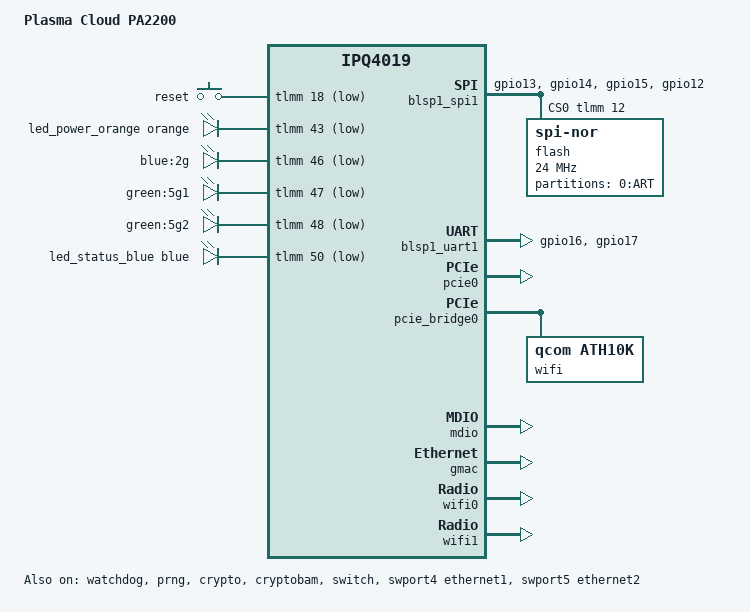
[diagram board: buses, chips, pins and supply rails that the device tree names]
// SPDX-License-Identifier: GPL-2.0-or-later OR MIT
/* Copyright (c) 2017-2020, Sven Eckelmann <sven@narfation.org>
 * Copyright (c) 2018, Marek Lindner <marek.lindner@kaiwoo.ai>
 */

#include "qcom-ipq4019.dtsi"
#include <dt-bindings/gpio/gpio.h>
#include <dt-bindings/input/input.h>
#include <dt-bindings/leds/common.h>
#include <dt-bindings/soc/qcom,tcsr.h>

/ {
	model = "Plasma Cloud PA2200";
	compatible = "plasmacloud,pa2200";

	soc {
		tcsr@1949000 {
			compatible = "qcom,tcsr";
			reg = <0x1949000 0x100>;
			qcom,wifi_glb_cfg = <TCSR_WIFI_GLB_CFG>;
		};

		ess_tcsr@1953000 {
			compatible = "qcom,tcsr";
			reg = <0x1953000 0x1000>;
			qcom,ess-interface-select = <TCSR_ESS_PSGMII>;
		};

		tcsr@1957000 {
			compatible = "qcom,tcsr";
			reg = <0x1957000 0x100>;
			qcom,wifi_noc_memtype_m0_m2 = <TCSR_WIFI_NOC_MEMTYPE_M0_M2>;
		};
	};

	keys {
		compatible = "gpio-keys";

		reset {
			label = "reset";
			gpios = <&tlmm 18 GPIO_ACTIVE_LOW>;
			linux,code = <KEY_RESTART >;
		};
	};

	aliases {
		// TODO: Verify if the ethernet0 alias is needed
		ethernet0 = &gmac;
		led-boot = &led_power_orange;
		led-failsafe = &led_status_blue;
		led-running = &led_power_orange;
		led-upgrade = &led_status_blue;
		label-mac-device = &swport4;
	};

	leds {
		compatible = "gpio-leds";

		led_power_orange: power_orange {
			function = LED_FUNCTION_POWER;
			color = <LED_COLOR_ID_ORANGE>;
			gpios = <&tlmm 43 GPIO_ACTIVE_LOW>;
		};

		2g_blue {
			label = "blue:2g";
			gpios = <&tlmm 46 GPIO_ACTIVE_LOW>;
			linux,default-trigger = "phy1tpt";
		};

		2g_green {
			label = "green:5g1";
			gpios = <&tlmm 47 GPIO_ACTIVE_LOW>;
			linux,default-trigger = "phy0tpt";
		};

		5g2_green {
			label = "green:5g2";
			gpios = <&tlmm 48 GPIO_ACTIVE_LOW>;
			linux,default-trigger = "phy2tpt";
		};

		led_status_blue: status_blue {
			function = LED_FUNCTION_STATUS;
			color = <LED_COLOR_ID_BLUE>;
			gpios = <&tlmm 50 GPIO_ACTIVE_LOW>;
		};
	};
};

&watchdog {
	status = "okay";
};

&prng {
	status = "okay";
};

&crypto {
	status = "okay";
};

&tlmm {
	serial_pins: serial_pinmux {
		mux {
			pins = "gpio16", "gpio17";
			function = "blsp_uart0";
			bias-disable;
		};
	};

	spi_0_pins: spi_0_pinmux {
		pin {
			function = "blsp_spi0";
			pins = "gpio13", "gpio14", "gpio15";
			drive-strength = <12>;
			bias-disable;
		};
		pin_cs {
			function = "gpio";
			pins = "gpio12";
			drive-strength = <2>;
			bias-disable;
			output-high;
		};
	};
};

&blsp_dma {
	status = "okay";
};

&blsp1_spi1 {
	pinctrl-0 = <&spi_0_pins>;
	pinctrl-names = "default";
	status = "okay";
	cs-gpios = <&tlmm 12 GPIO_ACTIVE_HIGH>;

	flash@0 {
		#address-cells = <1>;
		#size-cells = <1>;
		compatible = "jedec,spi-nor";
		reg = <0>;
		spi-max-frequency = <24000000>;

		/* partitions are passed via bootloader */
		partitions {
			partition-art {
				label = "0:ART";

				nvmem-layout {
					compatible = "fixed-layout";
					#address-cells = <1>;
					#size-cells = <1>;

					macaddr_gmac0: macaddr@0 {
						reg = <0x0 0x6>;
					};

					macaddr_gmac1: macaddr@6 {
						reg = <0x6 0x6>;
					};

					precal_art_1000: precal@1000 {
						reg = <0x1000 0x2f20>;
					};

					precal_art_5000: precal@5000 {
						reg = <0x5000 0x2f20>;
					};

					precal_art_9000: precal@9000 {
						reg = <0x9000 0x2f20>;
					};
				};
			};
		};
	};
};

&blsp1_uart1 {
	pinctrl-0 = <&serial_pins>;
	pinctrl-names = "default";
	status = "okay";
};

&cryptobam {
	status = "okay";
};

&pcie0 {
	status = "okay";
	perst-gpio = <&tlmm 38 GPIO_ACTIVE_LOW>;
	wake-gpio = <&tlmm 50 GPIO_ACTIVE_LOW>;
};

&pcie_bridge0 {
	wifi@0,0 {
		compatible = "qcom,ath10k";
		reg = <0x00010000 0 0 0 0>;
		ieee80211-freq-limit = <5170000 5350000>;
		nvmem-cell-names = "pre-calibration";
		nvmem-cells = <&precal_art_9000>;
		qcom,ath10k-calibration-variant = "PlasmaCloud-PA2200";
	};
};

&mdio {
	status = "okay";
};

&gmac {
	status = "okay";
};

&switch {
	status = "okay";
};

&swport4 {
	status = "okay";
	label = "ethernet1";

	nvmem-cell-names = "mac-address";
	nvmem-cells = <&macaddr_gmac0>;
};

&swport5 {
	status = "okay";
	label = "ethernet2";

	nvmem-cell-names = "mac-address";
	nvmem-cells = <&macaddr_gmac1>;
};

&wifi0 {
	status = "okay";
	qcom,ath10k-calibration-variant = "PlasmaCloud-PA2200";

	nvmem-cell-names = "pre-calibration";
	nvmem-cells = <&precal_art_1000>;
};

&wifi1 {
	status = "okay";
	qcom,ath10k-calibration-variant = "PlasmaCloud-PA2200";
	ieee80211-freq-limit = <5470000 5875000>;

	nvmem-cell-names = "pre-calibration";
	nvmem-cells = <&precal_art_5000>;
};
